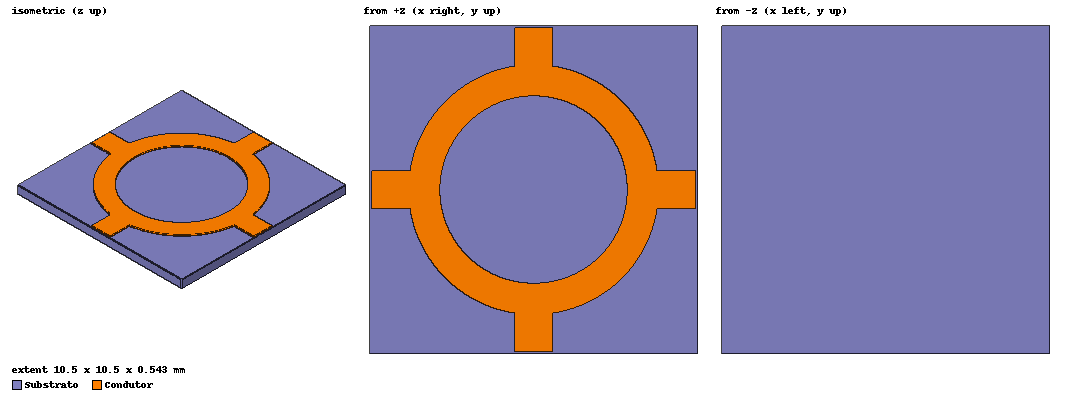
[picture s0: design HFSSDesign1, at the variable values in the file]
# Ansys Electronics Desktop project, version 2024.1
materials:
  copper: permeability=0.999991 conductivity=58000000
  FR4_epoxy: permittivity=4.4 dielectric_loss_tangent=0.02
  vacuum: permittivity=1

design HFSSDesign1 (HFSS, HFSS Terminal Network, model units mm)
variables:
  H = 0.508mm
  subX = 10.5mm
  subY = 10.5mm
  Hcond = 0.035mm
  Rfora = 4mm
  Rdentro = Rfora-1mm
  W0 = 1.2mm
  L0 = 1.28mm
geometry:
  Substrato [vacuum] = box(corner=(0mm, 0mm, 0mm), size=(subX, subY, H))
  coordinate_system RelativeCS1 = origin=(subX/2, subY/2, H) x=(1mm, 0mm, 0mm) y=(0mm, 1mm, 0mm)
  Condutor [vacuum] = cylinder(axis=Z, base_centre=(0mm, 0mm, 0mm), radius=Rfora, height=Hcond) in RelativeCS1
  Centro = cylinder(axis=Z, base_centre=(0mm, 0mm, 0mm), radius=Rdentro, height=Hcond) in RelativeCS1
  Condutor.subtract(Centro)
  Box1 = box(corner=(Rfora*0.98, -W0/2, 0mm), size=(L0, W0, Hcond)) in RelativeCS1
  Box1_1, Box1_2, Box1_3 = Box1.duplicate_around_axis(axis=Z, angle=90deg, total=4) in RelativeCS1
  Condutor.unite(Box1_3, Box1_2, Box1_1, Box1)
